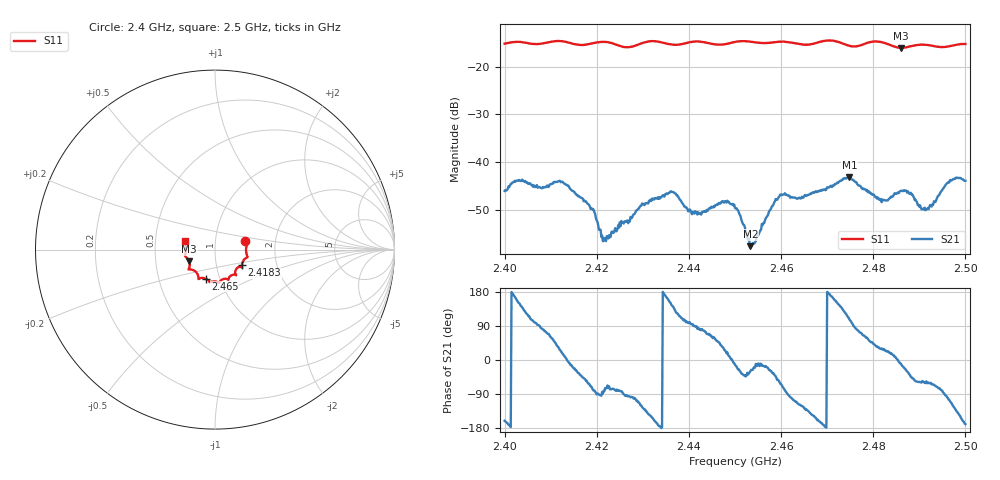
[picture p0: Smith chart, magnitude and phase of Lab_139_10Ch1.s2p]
# Hz S RI R 50
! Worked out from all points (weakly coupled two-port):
!   601 points, 2.4 GHz to 2.5 GHz, reference 50 ohm
!   highest |S21| = -43.13 dB at 2.4748 GHz (marker M1); lowest = -57.6 dB at 2.4533 GHz (marker M2)
!   lowest |S11| = -16.0 dB at 2.486 GHz (marker M3), VSWR 1.38, Z = 37.1 - j4.97 ohm
!   |S11| at or under -10 dB: start of sweep to end of sweep
!   S12 and S22 are empty: the file has one direction only
!   S11 on the Smith chart (normalised r, x): 2.4 GHz: 1.40, +0.13; 2.4183 GHz: 1.33, -0.24; 2.465 GHz: 0.86, -0.29; 2.5 GHz: 0.71, +0.07
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2.4e9  0.1689 0.0457  -0.00471 -0.00167  0 0  0 0
2.402667e9  0.1795 0.0342  -0.00594 0.00238  0 0  0 0
2.407667e9  0.1736 -0.0117  7.18e-05 0.00545  0 0  0 0
2.412167e9  0.1812 -0.0425  0.00561 0.00256  0 0  0 0
2.416667e9  0.1549 -0.068  0.00313 -0.00283  0 0  0 0
2.418333e9  0.1502 -0.0866  0.00164 -0.00317  0 0  0 0
2.421833e9  0.1526 -0.0999  0.000443 -0.00152  0 0  0 0
2.433333e9  0.1168 -0.1412  -0.00408 -0.000601  0 0  0 0
2.4365e9  0.0946 -0.142  -0.00382 0.003  0 0  0 0
2.442167e9  0.0738 -0.1685  0.00039 0.00289  0 0  0 0
2.4475e9  0.0393 -0.1672  0.00322 0.00197  0 0  0 0
2.45e9  0.0251 -0.1806  0.00323 -0.000721  0 0  0 0
2.453333e9  0.0174 -0.1827  0.00114 -0.000653  0 0  0 0
2.459833e9  -0.0273 -0.1815  0.00211 -0.00406  0 0  0 0
2.465e9  -0.0527 -0.1622  -0.00265 -0.00351  0 0  0 0
2.466667e9  -0.0712 -0.1576  -0.00387 -0.00274  0 0  0 0
2.474833e9  -0.1004 -0.1322  -0.002 0.00668  0 0  0 0
2.483333e9  -0.1421 -0.096  0.0038 0.00152  0 0  0 0
2.486e9  -0.1439 -0.0652  0.00495 -0.000834  0 0  0 0
2.4915e9  -0.167 -0.0308  0.00175 -0.00264  0 0  0 0
2.496333e9  -0.1623 0.0203  -0.0015 -0.00601  0 0  0 0
2.5e9  -0.1669 0.0472  -0.00627 -0.00118  0 0  0 0
